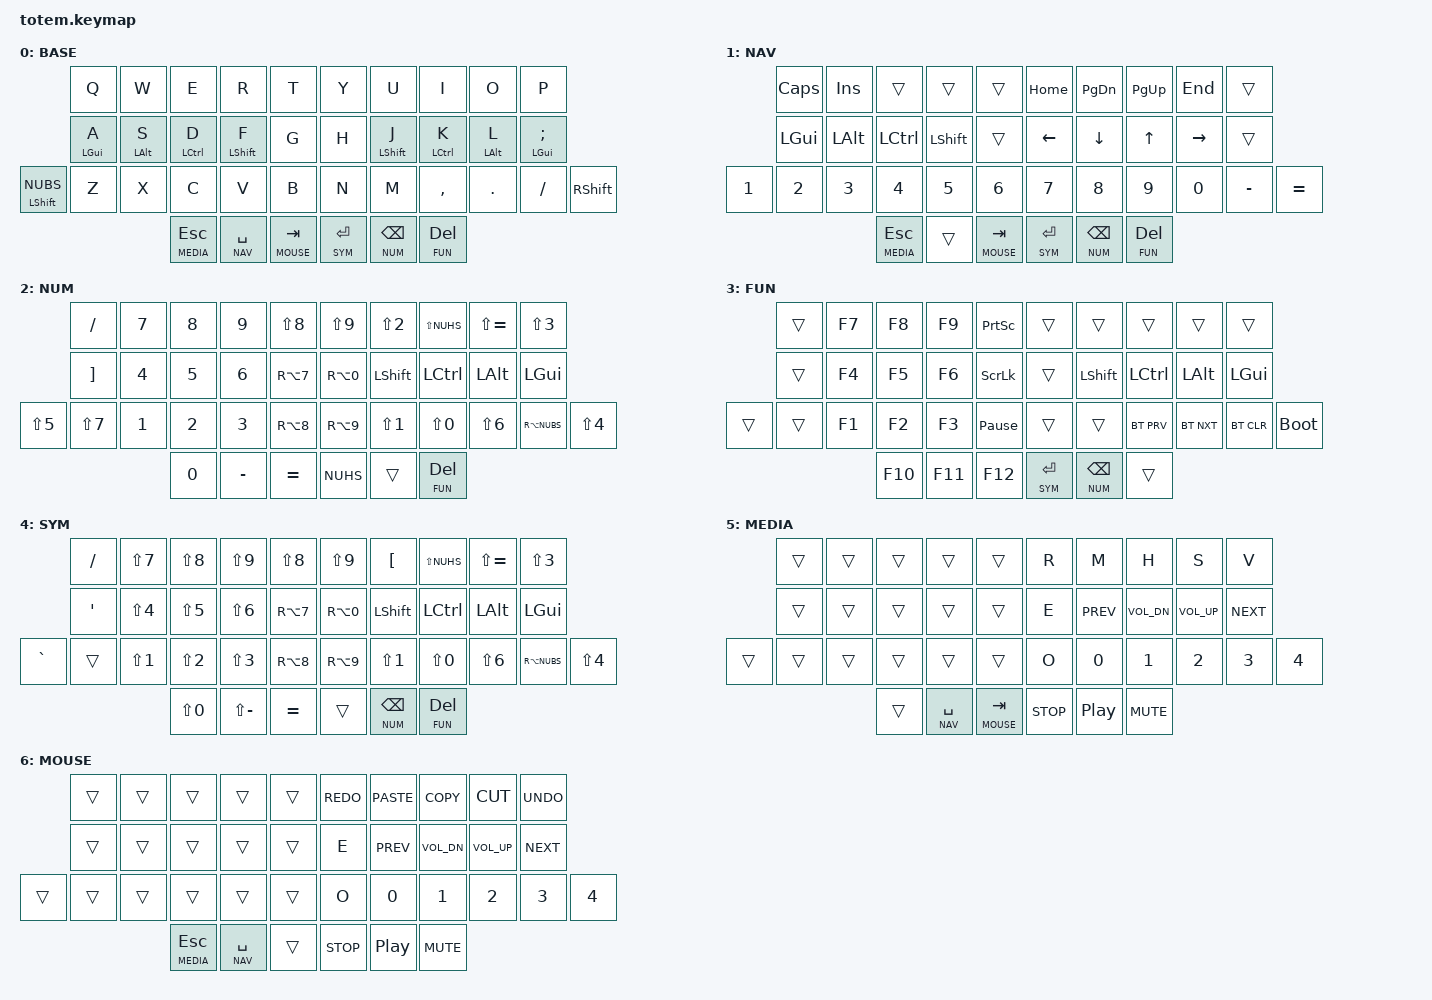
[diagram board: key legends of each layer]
//
//                                                        ▀▀▀▀▀     ▀▀▀▀▀          ▀▀█▀▀
//                                                        ▄▀▀▀▄  ▄  ▄▀▀▀▄  ▄  ▄▀▀▀▄  █  ▄▀▀▀▄
//                                                        █   █  █  █   █  █  █   █  █  █   █
//                                                         ▀▀▀   █   ▀▀▀   █   ▀▀▀   ▀   ▀▀▀
//                                                               █      ▄▄▄█▄▄▄    █   █  
//                                                               ▀      █  █  █     █▄█
//                                                             ▀▀▀▀▀    █  █  █      ▀
//                                                                      ▀  ▀  ▀
//
// ▄▄▄▄▄▄▄▄▄▄▄▄▄▄▄▄▄▄▄▄▄▄▄▄▄▄▄▄▄▄▄▄▄▄▄▄▄▄▄▄▄▄▄▄▄▄▄▄▄▄▄▄▄▄▄▄▄▄▄▄▄▄▄▄▄▄▄▄▄▄▄▄▄▄▄▄▄▄▄▄▄▄▄▄▄▄▄▄▄▄▄▄▄▄▄▄▄▄▄▄▄▄▄▄▄▄▄▄▄▄▄▄▄▄▄▄▄▄▄▄▄▄▄▄▄▄▄▄▄▄▄▄▄▄▄▄▄▄▄▄▄▄▄▄▄▄▄▄▄
       

#include <behaviors.dtsi>
#include <dt-bindings/zmk/keys.h>
#include <dt-bindings/zmk/bt.h>
#include <dt-bindings/zmk/outputs.h>

#define BASE 0
#define NAV 1
#define NUM 2
#define FUN 3
#define SYM 4
#define MEDIA 5
#define MOUSE 6

&mt {
  quick-tap-ms = <100>;
  global-quick-tap;
  flavor = "tap-preferred";
  tapping-term-ms = <170>;
};

/ {
    behaviors {
        lh_pht: left_hand_positional_hold_tap {
            compatible = "zmk,behavior-hold-tap";
            label = "LEFT_POSITIONAL_HOLD_TAP";
            #binding-cells = <2>;
            flavor = "tap-unless-interrupted";
            tapping-term-ms = <400>;                        // <---[[produces tap if held longer than tapping-term-ms]]
            quick-tap-ms = <200>;
            bindings = <&kp>, <&kp>;
            hold-trigger-key-positions = <5 6 7 8 9 15 16 17 18 19 26 27 28 29 30 31 35 36 37>;    // <---[[right-hand keys]]
        };

        rh_pht: right_hand_positional_hold_tap {
            compatible = "zmk,behavior-hold-tap";
            label = "RIGHT_POSITIONAL_HOLD_TAP";
            #binding-cells = <2>;
            flavor = "tap-unless-interrupted";
            tapping-term-ms = <400>;                        // <---[[produces tap if held longer than tapping-term-ms]]
            quick-tap-ms = <200>;
            bindings = <&kp>, <&kp>;
            hold-trigger-key-positions = <0 1 2 3 4 10 11 12 13 14 20 21 22 23 24 25 32 33 34>;    // <---[[left-hand keys]]
        };

        hm: homerow_mods {
            compatible = "zmk,behavior-hold-tap";
            label = "HOMEROW_MODS";
            #binding-cells = <2>;
            tapping-term-ms = <600>;
            quick-tap-ms = <0>;
            flavor = "tap-preferred";
            bindings = <&kp>, <&kp>;
        };

        bhm: balanced_homerow_mods {
            compatible = "zmk,behavior-hold-tap";
            label = "HOMEROW_MODS";
            #binding-cells = <2>;
            tapping-term-ms = <200>;    // <---[[moderate duration]]
            quick-tap-ms = <0>;
            flavor = "balanced";
            bindings = <&kp>, <&kp>;
        };
    };

    combos {
            compatible = "zmk,combos";
            combo_esc {
                timeout-ms = <50>;
                key-positions = <0 1>;
                bindings = <&kp ESC>;
            };
    };

    macros {
        gif: gif {
            label = "giphy";
            compatible = "zmk,behavior-macro";
            #binding-cells = <0>;
            bindings
                = <&macro_press &kp LSHFT>
                , <&macro_tap &kp N2>
                , <&macro_release &kp LSHFT>
                , <&macro_tap &kp G &kp I &kp F>
                ;
        };
    };

        keymap {
                compatible = "zmk,keymap";
// ▄▄▄▄▄▄▄▄▄▄▄▄▄▄▄▄▄▄▄▄▄▄▄▄▄▄▄▄▄▄▄▄▄▄▄▄▄▄▄▄▄▄▄▄▄▄▄▄▄▄▄▄▄▄▄▄▄▄▄▄▄▄▄▄▄▄▄▄▄▄▄▄▄▄▄▄▄▄▄▄▄▄▄▄▄▄▄▄▄▄▄▄▄▄▄▄▄▄▄▄▄▄▄▄▄▄▄▄▄▄▄▄▄▄▄▄▄▄▄▄▄▄▄▄▄▄▄▄▄▄▄▄▄▄▄▄▄▄▄▄▄▄▄▄▄▄▄▄▄

                base_layer {
// ┏━━━━━━━━━━━━━━━━━━━━━━━━━━━━━━━━━━━━━━━┓
label= "BASE"                              ;
// ┗━━━━━━━━━━━━━━━━━━━━━━━━━━━━━━━━━━━━━━━┛
//             ┏━━━━━━━━━━━┳━━━━━━━━━━━┳━━━━━━━━━━━┳━━━━━━━━━━━┳━━━━━━━━━━━┓   ┏━━━━━━━━━━━┳━━━━━━━━━━━┳━━━━━━━━━━━┳━━━━━━━━━━━┳━━━━━━━━━━━┓
//             ┃     Q     ┃     W     ┃     E     ┃     R     ┃     T     ┃   ┃     Y     ┃     U     ┃     I     ┃     O     ┃     P     ┃
//             ┣━━━━━━━━━━━╋━━━━━━━━━━━╋━━━━━━━━━━━╋━━━━━━━━━━━╋━━━━━━━━━━━┫   ┣━━━━━━━━━━━╋━━━━━━━━━━━╋━━━━━━━━━━━╋━━━━━━━━━━━╋━━━━━━━━━━━┫
//             ┃  LGUI A   ┃  LALT S   ┃  LCTRL D  ┃  LSHIFT F ┃     G     ┃   ┃     H     ┃  LSHFT J  ┃  LCTRL K  ┃  LALT L   ┃  LGUI Ö   ┃
// ┏━━━━━━━━━━━╋━━━━━━━━━━━╋━━━━━━━━━━━╋━━━━━━━━━━━╋━━━━━━━━━━━╋━━━━━━━━━━━┫   ┣━━━━━━━━━━━╋━━━━━━━━━━━╋━━━━━━━━━━━╋━━━━━━━━━━━╋━━━━━━━━━━━╋━━━━━━━━━━━┓
// ┃ SH / <    ┃     Z     ┃     X     ┃     C     ┃     V     ┃     B     ┃   ┃     N     ┃     M     ┃     ,     ┃     .     ┃     -     ┃     SH    ┃
// ┗━━━━━━━━━━━┻━━━━━━━━━━━┻━━━━━━━━━━━╋━━━━━━━━━━━╋━━━━━━━━━━━╋━━━━━━━━━━━┫   ┣━━━━━━━━━━━╋━━━━━━━━━━━╋━━━━━━━━━━━╋━━━━━━━━━━━┻━━━━━━━━━━━┻━━━━━━━━━━━┛
//                                     ┃ MEDIA ESC ┃  NAV SPC  ┃ MOUSE TAB ┃   ┃  SYM RET  ┃ NUM BSPC  ┃  FUN DEL  ┃
//                                     ┗━━━━━━━━━━━┻━━━━━━━━━━━┻━━━━━━━━━━━┛   ┗━━━━━━━━━━━┻━━━━━━━━━━━┻━━━━━━━━━━━┛
 bindings = <
// ╷           ╷           ╷           ╷           ╷           ╷           ╷   ╷           ╷           ╷           ╷           ╷           ╷           ╷

                     &kp Q       &kp W       &kp E          &kp R          &kp T          &kp Y        &kp U         &kp I        &kp O       &kp P
                     &hm LGUI A  &hm LALT S  &hm LCTRL D    &hm LSHFT F    &kp G          &kp H        &hm LSHFT J   &hm LCTRL K  &hm LALT L  &hm LGUI SEMI
    &mt LSHFT NUBS   &kp Z       &kp X       &kp C          &kp V          &kp B          &kp N        &kp M         &kp COMMA    &kp DOT     &kp  FSLH      &kp RSHFT
                                             &lt MEDIA ESC  &lt NAV SPACE  &lt MOUSE TAB  &lt SYM RET  &lt NUM BSPC  &lt FUN DEL
                        >;
                };

// ▄▄▄▄▄▄▄▄▄▄▄▄▄▄▄▄▄▄▄▄▄▄▄▄▄▄▄▄▄▄▄▄▄▄▄▄▄▄▄▄▄▄▄▄▄▄▄▄▄▄▄▄▄▄▄▄▄▄▄▄▄▄▄▄▄▄▄▄▄▄▄▄▄▄▄▄▄▄▄▄▄▄▄▄▄▄▄▄▄▄▄▄▄▄▄▄▄▄▄▄▄▄▄▄▄▄▄▄▄▄▄▄▄▄▄▄▄▄▄▄▄▄▄▄▄▄▄▄▄▄▄▄▄▄▄▄▄▄▄▄▄▄▄▄▄▄▄▄▄


                nav_layer {
// ┏━━━━━━━━━━━━━━━━━━━━━━━━━━━━━━━━━━━━━━━┓
label= "NAV"                              ;
// ┗━━━━━━━━━━━━━━━━━━━━━━━━━━━━━━━━━━━━━━━┛
//             ┏━━━━━━━━━━━┳━━━━━━━━━━━┳━━━━━━━━━━━┳━━━━━━━━━━━┳━━━━━━━━━━━┓   ┏━━━━━━━━━━━┳━━━━━━━━━━━┳━━━━━━━━━━━┳━━━━━━━━━━━┳━━━━━━━━━━━┓
//             ┃           ┃           ┃           ┃           ┃           ┃   ┃           ┃   HOME    ┃   PG DN   ┃   PG UP   ┃    END    ┃
//             ┣━━━━━━━━━━━╋━━━━━━━━━━━╋━━━━━━━━━━━╋━━━━━━━━━━━╋━━━━━━━━━━━┫   ┣━━━━━━━━━━━╋━━━━━━━━━━━╋━━━━━━━━━━━╋━━━━━━━━━━━╋━━━━━━━━━━━┫
//             ┃   LGUI    ┃   LALT    ┃   LCTRL   ┃  LSHIFT   ┃           ┃   ┃   CAPS    ┃   LEFT    ┃   DOWN    ┃     UP    ┃   RIGHT   ┃
// ┏━━━━━━━━━━━╋━━━━━━━━━━━╋━━━━━━━━━━━╋━━━━━━━━━━━╋━━━━━━━━━━━╋━━━━━━━━━━━┫   ┣━━━━━━━━━━━╋━━━━━━━━━━━╋━━━━━━━━━━━╋━━━━━━━━━━━╋━━━━━━━━━━━╋━━━━━━━━━━━┓
// ┃           ┃           ┃           ┃           ┃           ┃           ┃   ┃    INS    ┃   HOME    ┃   PG DN   ┃   PG UP   ┃    END    ┃           ┃
// ┗━━━━━━━━━━━┻━━━━━━━━━━━┻━━━━━━━━━━━╋━━━━━━━━━━━╋━━━━━━━━━━━╋━━━━━━━━━━━┫   ┣━━━━━━━━━━━╋━━━━━━━━━━━╋━━━━━━━━━━━╋━━━━━━━━━━━┻━━━━━━━━━━━┻━━━━━━━━━━━┛
//                                     ┃ MEDIA ESC ┃           ┃ MOUSE TAB ┃   ┃ SYM RET   ┃ NUM BSPC  ┃  FUN DEL  ┃
//                                     ┗━━━━━━━━━━━┻━━━━━━━━━━━┻━━━━━━━━━━━┛   ┗━━━━━━━━━━━┻━━━━━━━━━━━┻━━━━━━━━━━━┛
 bindings = <
// ╷           ╷           ╷           ╷           ╷           ╷           ╷   ╷           ╷           ╷           ╷           ╷           ╷           ╷

                  &kp CAPSLOCK &kp INSERT  &trans        &trans     &trans         &kp HOME     &kp PG_DN     &kp PG_UP   &kp END    &trans
                  &kp LGUI     &kp LALT    &kp LCTRL     &kp LSHFT  &trans         &kp LEFT     &kp DOWN      &kp UP      &kp RIGHT  &trans
    &kp N1        &kp N2       &kp N3      &kp N4        &kp N5     &kp N6         &kp N7       &kp N8        &kp N9      &kp N0     &kp MINUS  &kp EQUAL
                                           &lt MEDIA ESC &trans     &lt MOUSE TAB  &lt SYM RET  &lt NUM BSPC  &lt FUN DEL
                        >;
                };

// ▄▄▄▄▄▄▄▄▄▄▄▄▄▄▄▄▄▄▄▄▄▄▄▄▄▄▄▄▄▄▄▄▄▄▄▄▄▄▄▄▄▄▄▄▄▄▄▄▄▄▄▄▄▄▄▄▄▄▄▄▄▄▄▄▄▄▄▄▄▄▄▄▄▄▄▄▄▄▄▄▄▄▄▄▄▄▄▄▄▄▄▄▄▄▄▄▄▄▄▄▄▄▄▄▄▄▄▄▄▄▄▄▄▄▄▄▄▄▄▄▄▄▄▄▄▄▄▄▄▄▄▄▄▄▄▄▄▄▄▄▄▄▄▄▄▄▄▄▄


                num_layer {
// ┏━━━━━━━━━━━━━━━━━━━━━━━━━━━━━━━━━━━━━━━┓
label= "NUM"                              ;
// ┗━━━━━━━━━━━━━━━━━━━━━━━━━━━━━━━━━━━━━━━┛
//             ┏━━━━━━━━━━━┳━━━━━━━━━━━┳━━━━━━━━━━━┳━━━━━━━━━━━┳━━━━━━━━━━━┓   ┏━━━━━━━━━━━┳━━━━━━━━━━━┳━━━━━━━━━━━┳━━━━━━━━━━━┳━━━━━━━━━━━┓
//             ┃     -     ┃     7     ┃     8     ┃     9     ┃     {     ┃   ┃     }     ┃     "     ┃     '     ┃     `     ┃     §     ┃
//             ┣━━━━━━━━━━━╋━━━━━━━━━━━╋━━━━━━━━━━━╋━━━━━━━━━━━╋━━━━━━━━━━━┫   ┣━━━━━━━━━━━╋━━━━━━━━━━━╋━━━━━━━━━━━╋━━━━━━━━━━━╋━━━━━━━━━━━┫
//             ┃     +     ┃     4     ┃     5     ┃     6     ┃     [     ┃   ┃     ]     ┃   LSHFT   ┃   LCTRL   ┃   LALT    ┃   LGUI    ┃
// ┏━━━━━━━━━━━╋━━━━━━━━━━━╋━━━━━━━━━━━╋━━━━━━━━━━━╋━━━━━━━━━━━╋━━━━━━━━━━━┫   ┣━━━━━━━━━━━╋━━━━━━━━━━━╋━━━━━━━━━━━╋━━━━━━━━━━━╋━━━━━━━━━━━╋━━━━━━━━━━━┓
// ┃     %     ┃     /     ┃     1     ┃     2     ┃     3     ┃     (     ┃   ┃     )     ┃     !     ┃     =     ┃     &     ┃     |     ┃     $     ┃
// ┗━━━━━━━━━━━┻━━━━━━━━━━━┻━━━━━━━━━━━╋━━━━━━━━━━━╋━━━━━━━━━━━╋━━━━━━━━━━━┫   ┣━━━━━━━━━━━╋━━━━━━━━━━━╋━━━━━━━━━━━╋━━━━━━━━━━━┻━━━━━━━━━━━┻━━━━━━━━━━━┛
//                                     ┃     0     ┃     ß     ┃     ´     ┃   ┃     #     ┃           ┃  FUN DEL  ┃
//                                     ┗━━━━━━━━━━━┻━━━━━━━━━━━┻━━━━━━━━━━━┛   ┗━━━━━━━━━━━┻━━━━━━━━━━━┻━━━━━━━━━━━┛
 bindings = <
// ╷           ╷           ╷           ╷           ╷           ╷           ╷   ╷           ╷           ╷           ╷           ╷           ╷           ╷

                  &kp FSLH    &kp N7      &kp N8       &kp N9     &kp LS(N8)       &kp LS(N9)  &kp LS(N2)  &kp LS(NUHS)  &kp LS(EQL)  &kp LS(N3)
                  &kp RBKT    &kp N4      &kp N5       &kp N6     &kp RA(N7)       &kp RA(N0)  &kp LSHFT   &kp LCTRL     &kp LALT     &kp LGUI
    &kp LS(N5)    &kp LS(N7)  &kp N1      &kp N2       &kp N3     &kp RA(N8)       &kp RA(N9)  &kp LS(N1)  &kp LS(N0)    &kp LS(N6)   &kp RA(NUBS)  &kp LS(N4)
                                          &kp N0       &kp MINUS  &kp EQUAL        &kp NUHS    &trans      &lt FUN DEL
                        >;
                };

// ▄▄▄▄▄▄▄▄▄▄▄▄▄▄▄▄▄▄▄▄▄▄▄▄▄▄▄▄▄▄▄▄▄▄▄▄▄▄▄▄▄▄▄▄▄▄▄▄▄▄▄▄▄▄▄▄▄▄▄▄▄▄▄▄▄▄▄▄▄▄▄▄▄▄▄▄▄▄▄▄▄▄▄▄▄▄▄▄▄▄▄▄▄▄▄▄▄▄▄▄▄▄▄▄▄▄▄▄▄▄▄▄▄▄▄▄▄▄▄▄▄▄▄▄▄▄▄▄▄▄▄▄▄▄▄▄▄▄▄▄▄▄▄▄▄▄▄▄▄


                fun_layer {
// ┏━━━━━━━━━━━━━━━━━━━━━━━━━━━━━━━━━━━━━━━┓
label= "FUN"                               ;
// ┗━━━━━━━━━━━━━━━━━━━━━━━━━━━━━━━━━━━━━━━┛
//             ┏━━━━━━━━━━━┳━━━━━━━━━━━┳━━━━━━━━━━━┳━━━━━━━━━━━┳━━━━━━━━━━━┓   ┏━━━━━━━━━━━┳━━━━━━━━━━━┳━━━━━━━━━━━┳━━━━━━━━━━━┳━━━━━━━━━━━┓
//             ┃           ┃    F7     ┃    F8     ┃    F9     ┃   PSCRN   ┃   ┃           ┃           ┃           ┃           ┃           ┃
//             ┣━━━━━━━━━━━╋━━━━━━━━━━━╋━━━━━━━━━━━╋━━━━━━━━━━━╋━━━━━━━━━━━┫   ┣━━━━━━━━━━━╋━━━━━━━━━━━╋━━━━━━━━━━━╋━━━━━━━━━━━╋━━━━━━━━━━━┫
//             ┃           ┃    F4     ┃    F5     ┃    F6     ┃   SLCK    ┃   ┃           ┃   LSHFT   ┃   LCTRL   ┃   LALT    ┃   LGUI    ┃
// ┏━━━━━━━━━━━╋━━━━━━━━━━━╋━━━━━━━━━━━╋━━━━━━━━━━━╋━━━━━━━━━━━╋━━━━━━━━━━━┫   ┣━━━━━━━━━━━╋━━━━━━━━━━━╋━━━━━━━━━━━╋━━━━━━━━━━━╋━━━━━━━━━━━╋━━━━━━━━━━━┓
// ┃           ┃           ┃    F1     ┃    F2     ┃    F3     ┃   PAUSE   ┃   ┃           ┃           ┃   BT_PRV  ┃   BT_NXT  ┃   BT_CLR  ┃   BOOT    ┃
// ┗━━━━━━━━━━━┻━━━━━━━━━━━┻━━━━━━━━━━━╋━━━━━━━━━━━╋━━━━━━━━━━━╋━━━━━━━━━━━┫   ┣━━━━━━━━━━━╋━━━━━━━━━━━╋━━━━━━━━━━━╋━━━━━━━━━━━┻━━━━━━━━━━━┻━━━━━━━━━━━┛
//                                     ┃    F10    ┃    F11    ┃   F12     ┃   ┃ SYM RET   ┃ NUM BSPC  ┃           ┃
//                                     ┗━━━━━━━━━━━┻━━━━━━━━━━━┻━━━━━━━━━━━┛   ┗━━━━━━━━━━━┻━━━━━━━━━━━┻━━━━━━━━━━━┛
 bindings = <
// ╷           ╷           ╷           ╷           ╷           ╷           ╷   ╷           ╷           ╷           ╷           ╷           ╷           ╷

                 &trans       &kp F7      &kp F8      &kp F9       &kp PSCRN       &trans       &trans        &trans       &trans      &trans 
                 &trans       &kp F4      &kp F5      &kp F6       &kp SLCK        &trans       &kp LSHFT     &kp LCTRL    &kp LALT    &kp LGUI
    &trans       &trans       &kp F1      &kp F2      &kp F3       &kp PAUSE_BREAK &trans       &trans        &bt  BT_PRV  &bt BT_NXT  &bt BT_CLR  &bootloader
                                          &kp F10     &kp F11      &kp F12         &lt SYM RET  &lt NUM BSPC  &trans 
                        >;
                };

// ▄▄▄▄▄▄▄▄▄▄▄▄▄▄▄▄▄▄▄▄▄▄▄▄▄▄▄▄▄▄▄▄▄▄▄▄▄▄▄▄▄▄▄▄▄▄▄▄▄▄▄▄▄▄▄▄▄▄▄▄▄▄▄▄▄▄▄▄▄▄▄▄▄▄▄▄▄▄▄▄▄▄▄▄▄▄▄▄▄▄▄▄▄▄▄▄▄▄▄▄▄▄▄▄▄▄▄▄▄▄▄▄▄▄▄▄▄▄▄▄▄▄▄▄▄▄▄▄▄▄▄▄▄▄▄▄▄▄▄▄▄▄▄▄▄▄▄▄▄

                sym_layer {
// ┏━━━━━━━━━━━━━━━━━━━━━━━━━━━━━━━━━━━━━━━┓
label= "SYM"                               ;
// ┗━━━━━━━━━━━━━━━━━━━━━━━━━━━━━━━━━━━━━━━┛
//             ┏━━━━━━━━━━━┳━━━━━━━━━━━┳━━━━━━━━━━━┳━━━━━━━━━━━┳━━━━━━━━━━━┓   ┏━━━━━━━━━━━┳━━━━━━━━━━━┳━━━━━━━━━━━┳━━━━━━━━━━━┳━━━━━━━━━━━┓
//             ┃     -     ┃     /     ┃     (     ┃     )     ┃     (     ┃   ┃     )     ┃     Ü     ┃     '     ┃     `     ┃     §     ┃
//             ┣━━━━━━━━━━━╋━━━━━━━━━━━╋━━━━━━━━━━━╋━━━━━━━━━━━╋━━━━━━━━━━━┫   ┣━━━━━━━━━━━╋━━━━━━━━━━━╋━━━━━━━━━━━╋━━━━━━━━━━━╋━━━━━━━━━━━┫
//             ┃     Ä     ┃     $     ┃     %     ┃     &     ┃     {     ┃   ┃     }     ┃  CTRL+Z   ┃   CTRL+C  ┃   CTRL+V  ┃   CTRL+F  ┃
// ┏━━━━━━━━━━━╋━━━━━━━━━━━╋━━━━━━━━━━━╋━━━━━━━━━━━╋━━━━━━━━━━━╋━━━━━━━━━━━┫   ┣━━━━━━━━━━━╋━━━━━━━━━━━╋━━━━━━━━━━━╋━━━━━━━━━━━╋━━━━━━━━━━━╋━━━━━━━━━━━┓
// ┃   GRAVE   ┃           ┃     !     ┃     "     ┃     §     ┃     [     ┃   ┃     ]     ┃     !     ┃     =     ┃     &     ┃     |     ┃     $     ┃
// ┗━━━━━━━━━━━┻━━━━━━━━━━━┻━━━━━━━━━━━╋━━━━━━━━━━━╋━━━━━━━━━━━╋━━━━━━━━━━━┫   ┣━━━━━━━━━━━╋━━━━━━━━━━━╋━━━━━━━━━━━╋━━━━━━━━━━━┻━━━━━━━━━━━┻━━━━━━━━━━━┛
//                                     ┃     =     ┃     ?     ┃     ´     ┃   ┃           ┃ NUM BSPC  ┃  FUN DEL  ┃
//                                     ┗━━━━━━━━━━━┻━━━━━━━━━━━┻━━━━━━━━━━━┛   ┗━━━━━━━━━━━┻━━━━━━━━━━━┻━━━━━━━━━━━┛
 bindings = <
// ╷           ╷           ╷           ╷           ╷           ╷           ╷   ╷           ╷           ╷           ╷           ╷           ╷           ╷

                  &kp FSLH    &kp LS(N7)  &kp LS(N8)  &kp LS(N9)     &kp LS(N8)    &kp LS(N9)  &kp LBKT      &kp LS(NUHS)  &kp LS(EQL)  &kp LS(N3)
                  &kp SQT     &kp LS(N4)  &kp LS(N5)  &kp LS(N6)     &kp RA(N7)    &kp RA(N0)  &kp LSHFT     &kp LCTRL     &kp LALT     &kp LGUI
    &kp GRAVE     &trans      &kp LS(N1)  &kp LS(N2)  &kp LS(N3)     &kp RA(N8)    &kp RA(N9)  &kp LS(N1)    &kp LS(N0)    &kp LS(N6)   &kp RA(NUBS)  &kp LS(N4)
                                          &kp LS(N0)  &kp LS(MINUS)  &kp EQL       &trans      &lt NUM BSPC  &lt FUN DEL
                        >;
                };

// ▄▄▄▄▄▄▄▄▄▄▄▄▄▄▄▄▄▄▄▄▄▄▄▄▄▄▄▄▄▄▄▄▄▄▄▄▄▄▄▄▄▄▄▄▄▄▄▄▄▄▄▄▄▄▄▄▄▄▄▄▄▄▄▄▄▄▄▄▄▄▄▄▄▄▄▄▄▄▄▄▄▄▄▄▄▄▄▄▄▄▄▄▄▄▄▄▄▄▄▄▄▄▄▄▄▄▄▄▄▄▄▄▄▄▄▄▄▄▄▄▄▄▄▄▄▄▄▄▄▄▄▄▄▄▄▄▄▄▄▄▄▄▄▄▄▄▄▄▄


                media_layer {
// ┏━━━━━━━━━━━━━━━━━━━━━━━━━━━━━━━━━━━━━━━┓
label= "MEDIA"                               ;
// ┗━━━━━━━━━━━━━━━━━━━━━━━━━━━━━━━━━━━━━━━┛
//             ┏━━━━━━━━━━━┳━━━━━━━━━━━┳━━━━━━━━━━━┳━━━━━━━━━━━┳━━━━━━━━━━━┓   ┏━━━━━━━━━━━┳━━━━━━━━━━━┳━━━━━━━━━━━┳━━━━━━━━━━━┳━━━━━━━━━━━┓
//             ┃           ┃           ┃           ┃           ┃           ┃   ┃     R     ┃     M     ┃     H     ┃     S     ┃     V     ┃
//             ┣━━━━━━━━━━━╋━━━━━━━━━━━╋━━━━━━━━━━━╋━━━━━━━━━━━╋━━━━━━━━━━━┫   ┣━━━━━━━━━━━╋━━━━━━━━━━━╋━━━━━━━━━━━╋━━━━━━━━━━━╋━━━━━━━━━━━┫
//             ┃           ┃           ┃           ┃           ┃           ┃   ┃     E     ┃   C_PREV  ┃  C_VOL_DN ┃  C_VOL_UP ┃   C_NEXT  ┃
// ┏━━━━━━━━━━━╋━━━━━━━━━━━╋━━━━━━━━━━━╋━━━━━━━━━━━╋━━━━━━━━━━━╋━━━━━━━━━━━┫   ┣━━━━━━━━━━━╋━━━━━━━━━━━╋━━━━━━━━━━━╋━━━━━━━━━━━╋━━━━━━━━━━━╋━━━━━━━━━━━┓
// ┃           ┃           ┃           ┃           ┃           ┃           ┃   ┃     O     ┃     0     ┃     1     ┃     2     ┃     3     ┃     4     ┃
// ┗━━━━━━━━━━━┻━━━━━━━━━━━┻━━━━━━━━━━━╋━━━━━━━━━━━╋━━━━━━━━━━━╋━━━━━━━━━━━┫   ┣━━━━━━━━━━━╋━━━━━━━━━━━╋━━━━━━━━━━━╋━━━━━━━━━━━┻━━━━━━━━━━━┻━━━━━━━━━━━┛
//                                     ┃           ┃  NAV SPC  ┃ MOUSE TAB ┃   ┃   C_STOP  ┃  C_PLAY   ┃  C_MUTE   ┃
//                                     ┗━━━━━━━━━━━┻━━━━━━━━━━━┻━━━━━━━━━━━┛   ┗━━━━━━━━━━━┻━━━━━━━━━━━┻━━━━━━━━━━━┛
 bindings = <
// ╷           ╷           ╷           ╷           ╷           ╷           ╷   ╷           ╷           ╷           ╷           ╷           ╷           ╷

                  &trans      &trans     &trans      &trans         &trans         &kp R       &kp M        &kp H         &kp S         &kp V
                  &trans      &trans     &trans      &trans         &trans         &kp E       &kp C_PREV   &kp C_VOL_DN  &kp C_VOL_UP  &kp C_NEXT
        &trans    &trans      &trans     &trans      &trans         &trans         &kp O       &kp  N0      &kp N1        &kp N2        &kp N3      &kp N4
                                         &trans      &lt NAV SPACE  &lt MOUSE TAB  &kp C_STOP  &kp C_PLAY_PAUSE  &kp C_MUTE
                        >;
                };

// ▄▄▄▄▄▄▄▄▄▄▄▄▄▄▄▄▄▄▄▄▄▄▄▄▄▄▄▄▄▄▄▄▄▄▄▄▄▄▄▄▄▄▄▄▄▄▄▄▄▄▄▄▄▄▄▄▄▄▄▄▄▄▄▄▄▄▄▄▄▄▄▄▄▄▄▄▄▄▄▄▄▄▄▄▄▄▄▄▄▄▄▄▄▄▄▄▄▄▄▄▄▄▄▄▄▄▄▄▄▄▄▄▄▄▄▄▄▄▄▄▄▄▄▄▄▄▄▄▄▄▄▄▄▄▄▄▄▄▄▄▄▄▄▄▄▄▄▄▄


                mouse_layer {
// ┏━━━━━━━━━━━━━━━━━━━━━━━━━━━━━━━━━━━━━━━┓
label= "MOUSE"                               ;
// ┗━━━━━━━━━━━━━━━━━━━━━━━━━━━━━━━━━━━━━━━┛
//             ┏━━━━━━━━━━━┳━━━━━━━━━━━┳━━━━━━━━━━━┳━━━━━━━━━━━┳━━━━━━━━━━━┓   ┏━━━━━━━━━━━┳━━━━━━━━━━━┳━━━━━━━━━━━┳━━━━━━━━━━━┳━━━━━━━━━━━┓
//             ┃           ┃           ┃           ┃           ┃           ┃   ┃   K_REDO  ┃  K_PASTE  ┃  K_COPY   ┃   K_CUT   ┃  K_UNDO   ┃
//             ┣━━━━━━━━━━━╋━━━━━━━━━━━╋━━━━━━━━━━━╋━━━━━━━━━━━╋━━━━━━━━━━━┫   ┣━━━━━━━━━━━╋━━━━━━━━━━━╋━━━━━━━━━━━╋━━━━━━━━━━━╋━━━━━━━━━━━┫
//             ┃           ┃           ┃           ┃           ┃           ┃   ┃     E     ┃   C_PREV  ┃  C_VOL_DN ┃  C_VOL_UP ┃   C_NEXT  ┃
// ┏━━━━━━━━━━━╋━━━━━━━━━━━╋━━━━━━━━━━━╋━━━━━━━━━━━╋━━━━━━━━━━━╋━━━━━━━━━━━┫   ┣━━━━━━━━━━━╋━━━━━━━━━━━╋━━━━━━━━━━━╋━━━━━━━━━━━╋━━━━━━━━━━━╋━━━━━━━━━━━┓
// ┃           ┃           ┃           ┃           ┃           ┃           ┃   ┃     O     ┃     0     ┃     1     ┃     2     ┃     3     ┃     4     ┃
// ┗━━━━━━━━━━━┻━━━━━━━━━━━┻━━━━━━━━━━━╋━━━━━━━━━━━╋━━━━━━━━━━━╋━━━━━━━━━━━┫   ┣━━━━━━━━━━━╋━━━━━━━━━━━╋━━━━━━━━━━━╋━━━━━━━━━━━┻━━━━━━━━━━━┻━━━━━━━━━━━┛
//                                     ┃ MEDIA ESC ┃  NAV SPC  ┃           ┃   ┃   C_STOP  ┃  C_PLAY   ┃  C_MUTE   ┃
//                                     ┗━━━━━━━━━━━┻━━━━━━━━━━━┻━━━━━━━━━━━┛   ┗━━━━━━━━━━━┻━━━━━━━━━━━┻━━━━━━━━━━━┛
 bindings = <
// ╷           ╷           ╷           ╷           ╷           ╷           ╷   ╷           ╷           ╷           ╷           ╷           ╷           ╷

                  &trans      &trans     &trans         &trans         &trans    &kp K_REDO  &kp K_PASTE       &kp K_COPY    &kp K_CUT     &kp K_UNDO
                  &trans      &trans     &trans         &trans         &trans    &kp E       &kp C_PREV        &kp C_VOL_DN  &kp C_VOL_UP  &kp C_NEXT
        &trans    &trans      &trans     &trans         &trans         &trans    &kp O       &kp  N0           &kp N1        &kp N2        &kp N3     &kp N4
                                         &lt MEDIA ESC  &lt NAV SPACE  &trans    &kp C_STOP  &kp C_PLAY_PAUSE  &kp C_MUTE
                        >;
                };
        };
};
